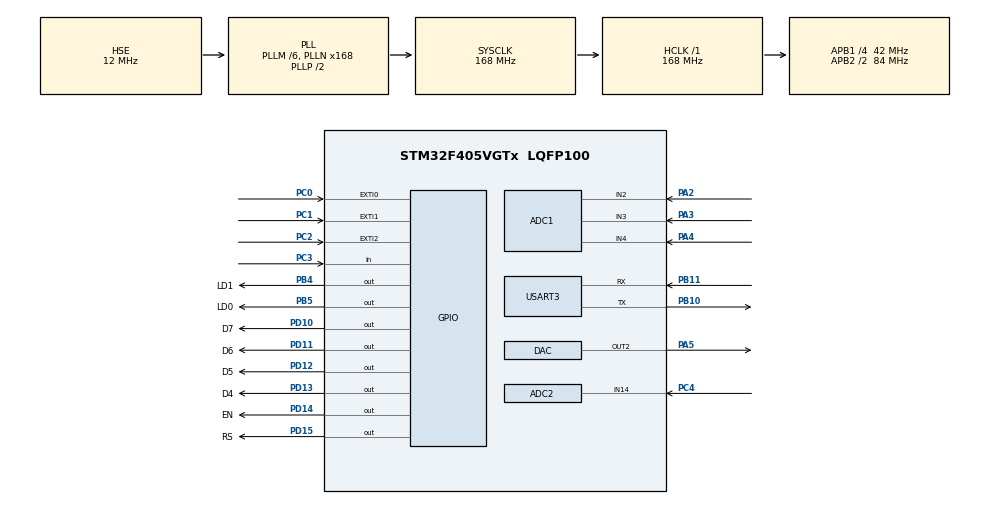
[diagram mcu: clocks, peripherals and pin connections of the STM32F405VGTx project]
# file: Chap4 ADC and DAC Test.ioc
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ADC1.Channel-0\#ChannelRegularConversion=ADC_CHANNEL_2
ADC1.Channel-1\#ChannelRegularConversion=ADC_CHANNEL_3
ADC1.Channel-2\#ChannelRegularConversion=ADC_CHANNEL_4
ADC1.ContinuousConvMode=ENABLE
ADC1.DMAContinuousRequests=ENABLE
ADC1.DiscontinuousConvMode=DISABLE
ADC1.EnableAnalogWatchDog=false
ADC1.InjNumberOfConversion=0
ADC1.NbrOfConversion=3
ADC1.NbrOfConversionFlag=1
ADC1.Rank-0\#ChannelRegularConversion=1
ADC1.Rank-1\#ChannelRegularConversion=2
ADC1.Rank-2\#ChannelRegularConversion=3
ADC1.SamplingTime-0\#ChannelRegularConversion=ADC_SAMPLETIME_84CYCLES
ADC1.SamplingTime-1\#ChannelRegularConversion=ADC_SAMPLETIME_84CYCLES
ADC1.SamplingTime-2\#ChannelRegularConversion=ADC_SAMPLETIME_84CYCLES
ADC1.ScanConvMode=ENABLE
ADC1.master=1
ADC2.Channel-1\#ChannelRegularConversion=ADC_CHANNEL_14
ADC2.ContinuousConvMode=ENABLE
ADC2.DMAContinuousRequests=ENABLE
ADC2.NbrOfConversionFlag=1
ADC2.Rank-1\#ChannelRegularConversion=1
ADC2.SamplingTime-1\#ChannelRegularConversion=ADC_SAMPLETIME_84CYCLES
ADC2.ScanConvMode=DISABLE
Dma.ADC1.0.Direction=DMA_PERIPH_TO_MEMORY
Dma.ADC1.0.FIFOMode=DMA_FIFOMODE_DISABLE
Dma.ADC1.0.Instance=DMA2_Stream0
Dma.ADC1.0.MemDataAlignment=DMA_MDATAALIGN_HALFWORD
Dma.ADC1.0.MemInc=DMA_MINC_ENABLE
Dma.ADC1.0.Mode=DMA_CIRCULAR
Dma.ADC1.0.PeriphDataAlignment=DMA_PDATAALIGN_HALFWORD
Dma.ADC1.0.PeriphInc=DMA_PINC_DISABLE
Dma.ADC1.0.Priority=DMA_PRIORITY_LOW
Dma.ADC2.1.Direction=DMA_PERIPH_TO_MEMORY
Dma.ADC2.1.FIFOMode=DMA_FIFOMODE_DISABLE
Dma.ADC2.1.Instance=DMA2_Stream2
Dma.ADC2.1.MemDataAlignment=DMA_MDATAALIGN_HALFWORD
Dma.ADC2.1.MemInc=DMA_MINC_DISABLE
Dma.ADC2.1.Mode=DMA_CIRCULAR
Dma.ADC2.1.PeriphDataAlignment=DMA_PDATAALIGN_HALFWORD
Dma.ADC2.1.PeriphInc=DMA_PINC_DISABLE
Dma.ADC2.1.Priority=DMA_PRIORITY_LOW
Dma.Request0=ADC1
Dma.Request1=ADC2
Mcu.Family=STM32F4
Mcu.Name=STM32F405VGTx
Mcu.Package=LQFP100
NVIC.DMA2_Stream0_IRQn=true\:0\:0\:false\:false\:true\:false\:true\:true
NVIC.DMA2_Stream2_IRQn=true\:0\:0\:false\:false\:true\:false\:true\:true
NVIC.EXTI0_IRQn=true\:0\:0\:false\:true\:true\:1\:true\:true\:true
NVIC.EXTI1_IRQn=true\:0\:0\:false\:true\:true\:2\:true\:true\:true
NVIC.EXTI2_IRQn=true\:0\:0\:false\:true\:true\:3\:true\:true\:true
NVIC.PriorityGroup=NVIC_PRIORITYGROUP_4
NVIC.USART3_IRQn=true\:0\:0\:false\:true\:true\:4\:true\:true\:true
PA2.Signal=ADCx_IN2
PA3.Signal=ADCx_IN3
PA4.Signal=ADCx_IN4
PA5.Signal=COMP_DAC2_group
PB10.Mode=Asynchronous
PB10.Signal=USART3_TX
PB11.Mode=Asynchronous
PB11.Signal=USART3_RX
PB4.GPIO_Label=LD1
PB4.Signal=GPIO_Output
PB5.GPIO_Label=LD0
PB5.Signal=GPIO_Output
PC0.GPIO_ModeDefaultEXTI=GPIO_MODE_IT_FALLING
PC0.Signal=GPXTI0
PC1.GPIO_ModeDefaultEXTI=GPIO_MODE_IT_FALLING
PC1.Signal=GPXTI1
PC2.GPIO_ModeDefaultEXTI=GPIO_MODE_IT_FALLING
PC2.Signal=GPXTI2
PC3.Signal=GPIO_Input
PC4.Signal=ADCx_IN14
PD10.GPIO_Label=D7
PD10.Signal=GPIO_Output
PD11.GPIO_Label=D6
PD11.Signal=GPIO_Output
PD12.GPIO_Label=D5
PD12.Signal=GPIO_Output
PD13.GPIO_Label=D4
PD13.Signal=GPIO_Output
PD14.GPIO_Label=EN
PD14.Signal=GPIO_Output
PD15.GPIO_Label=RS
PD15.Signal=GPIO_Output
PH0-OSC_IN.Mode=HSE-External-Oscillator
PH0-OSC_IN.Signal=RCC_OSC_IN
PH1-OSC_OUT.Mode=HSE-External-Oscillator
PH1-OSC_OUT.Signal=RCC_OSC_OUT
ProjectManager.HeapSize=0x200
ProjectManager.StackSize=0x400
ProjectManager.TargetToolchain=STM32CubeIDE
RCC.48MHZClocksFreq_Value=84000000
RCC.AHBFreq_Value=168000000
RCC.APB1CLKDivider=RCC_HCLK_DIV4
RCC.APB1Freq_Value=42000000
RCC.APB1TimFreq_Value=84000000
RCC.APB2CLKDivider=RCC_HCLK_DIV2
RCC.APB2Freq_Value=84000000
RCC.APB2TimFreq_Value=168000000
RCC.CortexFreq_Value=168000000
RCC.HCLKFreq_Value=168000000
RCC.HSE_VALUE=12000000
RCC.HSI_VALUE=16000000
RCC.LSE_VALUE=32768
RCC.PLLM=6
RCC.PLLN=168
RCC.PLLSourceVirtual=RCC_PLLSOURCE_HSE
RCC.SYSCLKFreq_VALUE=168000000
RCC.SYSCLKSource=RCC_SYSCLKSOURCE_PLLCLK
RCC.VCOOutputFreq_Value=336000000
SH.ADCx_IN14.0=ADC2_IN14,IN14
SH.ADCx_IN2.0=ADC1_IN2,IN2
SH.ADCx_IN3.0=ADC1_IN3,IN3
SH.ADCx_IN4.0=ADC1_IN4,IN4
SH.COMP_DAC2_group.0=DAC_OUT2,DAC_OUT2
TIM4.Prescaler=83
USART3.VirtualMode=VM_ASYNC
VP_TIM4_VS_ClockSourceINT.Mode=Internal
board=custom

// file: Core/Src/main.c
/* USER CODE BEGIN Header */
/**
  ******************************************************************************
  * @file           : main.c
  * @brief          : Main program body
  ******************************************************************************
  * @attention
  *
  * Copyright (c) 2025 STMicroelectronics.
  * All rights reserved.
  *
  * This software is licensed under terms that can be found in the LICENSE file
  * in the root directory of this software component.
  * If no LICENSE file comes with this software, it is provided AS-IS.
  *
  ******************************************************************************
  */
/* USER CODE END Header */
#include "main.h"
#include "adc.h"
#include "dac.h"
#include "dma.h"
#include "tim.h"
#include "usart.h"
#include "gpio.h"

/* USER CODE BEGIN Includes */
#include "stdio.h"
#include "CLCD.h"

/* USER CODE END Includes */

/* USER CODE BEGIN PM */
int _write(int file, char* p, int len){
	HAL_UART_Transmit(&huart3, p, len, 10);
	return len;
}

/* USER CODE END PM */

/* USER CODE BEGIN PV */
uint8_t rx_data = 0;

uint16_t adc1_val[3] = {0,};
uint16_t adc2_val = 0;
/* USER CODE END PV */

void SystemClock_Config(void);
static void MX_NVIC_Init(void);

int main(void)
{

  /* MCU Configuration--------------------------------------------------------*/

  /* Reset of all peripherals, Initializes the Flash interface and the Systick. */
  HAL_Init();

  /* Configure the system clock */
  SystemClock_Config();

  /* Initialize all configured peripherals */
  MX_GPIO_Init();
  MX_DMA_Init();
  MX_USART3_UART_Init();
  MX_TIM4_Init();
  MX_ADC1_Init();
  MX_DAC_Init();
  MX_ADC2_Init();

  /* Initialize interrupts */
  MX_NVIC_Init();
  /* USER CODE BEGIN 2 */

  lcd_Init(4, 20);
  uint8_t str[21];

  HAL_ADC_Start_DMA(&hadc1, &adc1_val[0], sizeof(adc1_val));
  HAL_ADC_Start_DMA(&hadc2, &adc2_val, 1);

  HAL_DAC_Start(&hdac, DAC_CHANNEL_2);

  /* USER CODE END 2 */

  /* Infinite loop */
  /* USER CODE BEGIN WHILE */
  while (1)
  {
	  sprintf(str, "VR1: %4d  VR2: %4d", adc1_val[0], adc1_val[1]);
	  lcd_setCurStr(0, 0, str);

//	  HAL_ADC_Start(&hadc2);
//	  HAL_ADC_PollForConversion(&hadc2, 100);
//	  adc2_val = HAL_ADC_GetValue(&hadc2);

	  sprintf(str, "VR3: %4d  CDS: %4d", adc1_val[2], adc2_val);
	  lcd_setCurStr(0, 1, str);

	  HAL_Delay(100);

	  HAL_DAC_SetValue(&hdac, DAC1_CHANNEL_2, DAC_ALIGN_12B_R, 2047);

    /* USER CODE END WHILE */

  }
}

void SystemClock_Config(void)
{
  RCC_OscInitTypeDef RCC_OscInitStruct = {0};
  RCC_ClkInitTypeDef RCC_ClkInitStruct = {0};

  /** Configure the main internal regulator output voltage
  */
  __HAL_RCC_PWR_CLK_ENABLE();
  __HAL_PWR_VOLTAGESCALING_CONFIG(PWR_REGULATOR_VOLTAGE_SCALE1);

  /** Initializes the RCC Oscillators according to the specified parameters
  * in the RCC_OscInitTypeDef structure.
  */
  RCC_OscInitStruct.OscillatorType = RCC_OSCILLATORTYPE_HSE;
  RCC_OscInitStruct.HSEState = RCC_HSE_ON;
  RCC_OscInitStruct.PLL.PLLState = RCC_PLL_ON;
  RCC_OscInitStruct.PLL.PLLSource = RCC_PLLSOURCE_HSE;
  RCC_OscInitStruct.PLL.PLLM = 6;
  RCC_OscInitStruct.PLL.PLLN = 168;
  RCC_OscInitStruct.PLL.PLLP = RCC_PLLP_DIV2;
  RCC_OscInitStruct.PLL.PLLQ = 4;
  if (HAL_RCC_OscConfig(&RCC_OscInitStruct) != HAL_OK)
  {
    Error_Handler();
  }

  /** Initializes the CPU, AHB and APB buses clocks
  */
  RCC_ClkInitStruct.ClockType = RCC_CLOCKTYPE_HCLK|RCC_CLOCKTYPE_SYSCLK
                              |RCC_CLOCKTYPE_PCLK1|RCC_CLOCKTYPE_PCLK2;
  RCC_ClkInitStruct.SYSCLKSource = RCC_SYSCLKSOURCE_PLLCLK;
  RCC_ClkInitStruct.AHBCLKDivider = RCC_SYSCLK_DIV1;
  RCC_ClkInitStruct.APB1CLKDivider = RCC_HCLK_DIV4;
  RCC_ClkInitStruct.APB2CLKDivider = RCC_HCLK_DIV2;

  if (HAL_RCC_ClockConfig(&RCC_ClkInitStruct, FLASH_LATENCY_5) != HAL_OK)
  {
    Error_Handler();
  }
}

/**
  * @brief NVIC Configuration.
  * @retval None
  */
static void MX_NVIC_Init(void)
{
  /* EXTI0_IRQn interrupt configuration */
  HAL_NVIC_SetPriority(EXTI0_IRQn, 0, 0);
  HAL_NVIC_EnableIRQ(EXTI0_IRQn);
  /* EXTI1_IRQn interrupt configuration */
  HAL_NVIC_SetPriority(EXTI1_IRQn, 0, 0);
  HAL_NVIC_EnableIRQ(EXTI1_IRQn);
  /* EXTI2_IRQn interrupt configuration */
  HAL_NVIC_SetPriority(EXTI2_IRQn, 0, 0);
  HAL_NVIC_EnableIRQ(EXTI2_IRQn);
  /* USART3_IRQn interrupt configuration */
  HAL_NVIC_SetPriority(USART3_IRQn, 0, 0);
  HAL_NVIC_EnableIRQ(USART3_IRQn);
}

/* USER CODE BEGIN 4 */
void HAL_GPIO_EXTI_Callback(uint16_t GPIO_Pin)
{
	if(GPIO_Pin == GPIO_PIN_0) {

	}
	else if(GPIO_Pin == GPIO_PIN_1) {

	}
	else if(GPIO_Pin == GPIO_PIN_2) {

	}
}

void HAL_UART_RxCpltCallback(UART_HandleTypeDef *huart)
{
	if(huart->Instance == USART3) {
		HAL_UART_Receive_IT(&huart3, &rx_data, 1);
		HAL_UART_Transmit(&huart3, &rx_data, 1, 1000);
	}
}

/* USER CODE END 4 */

void Error_Handler(void)
{
  __disable_irq();
  while (1)
  {
  }
}
